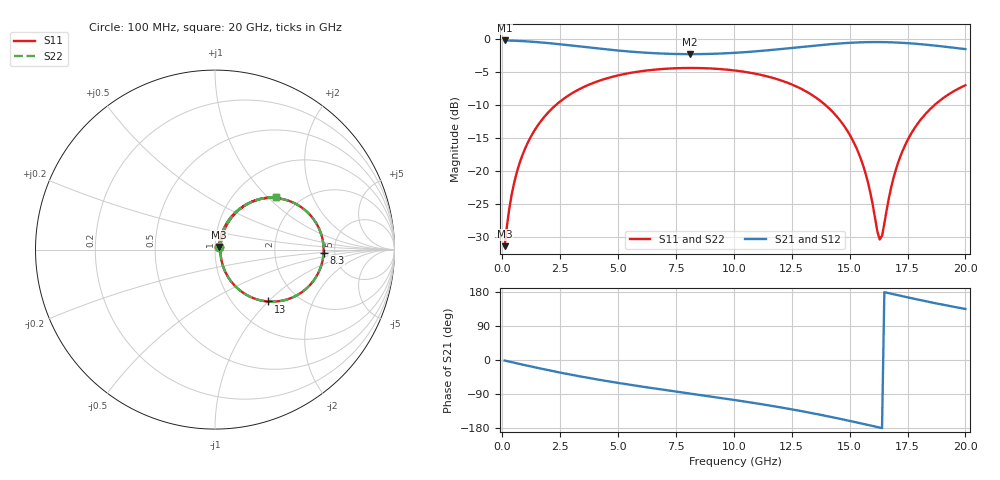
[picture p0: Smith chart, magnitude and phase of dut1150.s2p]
! Touchstone file exported from HFSS 2026.1.0
!  File:  C:/ffzhzh/LocalFiles/Ansys_Project_Files/temp_train_TSV_RDL_1150_1783310636_38820.aedt
!  Generated:  12:15:07 PM Jul  6, 2026
!  Design:  TSV_RDL
!  Project:  temp_train_TSV_RDL_1150_1783310636_38820
! Variables:
!  h_bsmrdl = 3.75um
!  h_ox = 20um
!  h_rdl = 5um
!  h_sub = 95.29um
!  h_tmrdl = 4.81um
!  h_tsv = 95.29um
!  h_via = 3um
!  l_bsmrdl = 806.84um
!  l_sub = 3406.24um
!  l_tmrdl = 127.98um
!  m_sub = 200um
!  pitch = 48.73um
!  r_tsv = 9.82um
!  s_tmrdl = 10um
!  w_bsmrdl = 12.75um
!  w_sub = 500um
!  w_tmrdl = 11.85um
!  x_tsv_center1 = 133.905um
!  x_tsv_center2 = 953.495um
!  x_tsv_center3 = 1093.325um
!  x_tsv_center4 = 1912.915um
!  x_tsv_center5 = 2052.745um
!  x_tsv_center6 = 2872.335um
# GHz S MA R 50.000000
! Terminal data exported
! Port[1] = TM_RDL1_1_T1
! Port[2] = TM_RDL5_1_T1
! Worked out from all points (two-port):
!   200 points, 100 MHz to 20 GHz, reference 50 ohm
!   highest |S21| = -0.20 dB at 100 MHz (marker M1); lowest = -2.3 dB at 8.1 GHz (marker M2)
!   |S21| within 3 dB of the highest: start of sweep to end of sweep
!   lowest |S11| = -31.3 dB at 100 MHz (marker M3), VSWR 1.06, Z = 52.3 + j1.59 ohm
!   |S11| at or under -10 dB: start of sweep to 2.305 GHz; 13.97 GHz to 18.66 GHz (4.69 GHz wide, 28.8 % of centre)
!   |S22| runs from -31.3 to -4.4 dB; largest |S21 - S12| = 2.3e-14
!   S11 on the Smith chart (normalised r, x): 100 MHz: 1.05, +0.03; 8.3 GHz: 4.05, -0.23; 13 GHz: 1.43, -1.00; 20 GHz: 1.54, +1.12
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0.1  0.02712 34.0  0.9778 -1.4  0.9778 -1.4  0.02712 34.0
! Gamma 0 0 0 0
! Port Impedance 50 0 50 0
0.3  0.05182 59.5  0.976 -4.3  0.976 -4.3  0.05182 59.5
0.5  0.07999 65.7  0.9734 -7.0  0.9734 -7.0  0.07999 65.7
1.1  0.1645 65.9  0.9614 -15.2  0.9614 -15.2  0.1645 65.9
2.1  0.2927 56.6  0.93 -28.2  0.93 -28.2  0.2927 56.6
3.5  0.4332 41.7  0.8746 -44.8  0.8746 -44.8  0.4332 41.7
6.8  0.5927 10.9  0.7796 -77.1  0.7796 -77.1  0.5927 10.9
8.1  0.6053 -0.0  0.7703 -88.5  0.7703 -88.5  0.6053 -0.1
8.3  0.6052 -1.7  0.7704 -90.2  0.7704 -90.2  0.6052 -1.7
10.1  0.5776 -17.0  0.7893 -106.2  0.7893 -106.2  0.5776 -17.0
13  0.413 -44.4  0.876 -135.8  0.876 -135.8  0.413 -44.5
13.4  0.3757 -48.5  0.8904 -140.5  0.8904 -140.5  0.3757 -48.6
14.5  0.2535 -59.6  0.9261 -154.1  0.9261 -154.1  0.2535 -59.7
15.3  0.1493 -65.0  0.9439 -164.7  0.9439 -164.7  0.1493 -65.2
15.8  0.08134 -61.4  0.9497 -171.5  0.9497 -171.5  0.08118 -61.8
16.3  0.03046 -5.3  0.9506 -178.3  0.9506 -178.3  0.02991 -5.5
16.4  0.03253 19.9  0.9502 -179.7  0.9502 -179.7  0.03199 20.2
16.7  0.06322 56.0  0.9478 176.2  0.9478 176.2  0.06291 56.4
17.2  0.1307 64.6  0.9399 169.4  0.9399 169.4  0.1305 64.9
17.9  0.2243 61.2  0.9217 160.1  0.9217 160.1  0.2242 61.4
18.8  0.3324 52.7  0.8896 148.7  0.8896 148.7  0.3323 52.8
20  0.4478 40.6  0.8409 134.7  0.8409 134.7  0.4478 40.6
